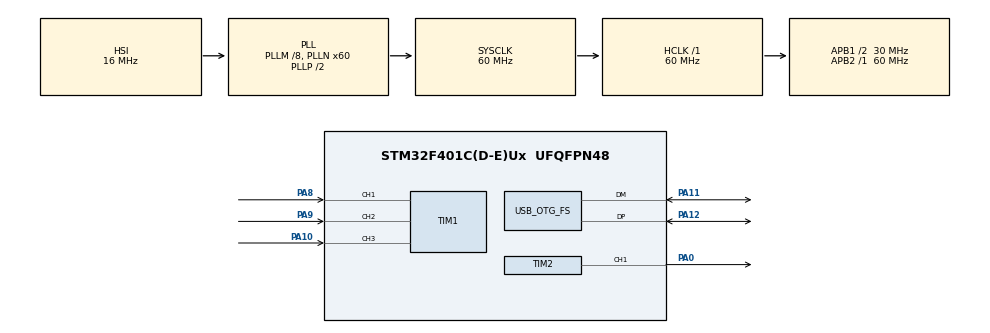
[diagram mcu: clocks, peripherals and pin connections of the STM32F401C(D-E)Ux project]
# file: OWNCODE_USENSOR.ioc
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Mcu.Family=STM32F4
Mcu.Name=STM32F401C(D-E)Ux
Mcu.Package=UFQFPN48
NVIC.OTG_FS_IRQn=true\:0\:0\:false\:false\:true\:false\:true\:true
NVIC.PriorityGroup=NVIC_PRIORITYGROUP_4
NVIC.TIM2_IRQn=true\:0\:0\:false\:false\:true\:true\:true\:true
PA0-WKUP.Signal=S_TIM2_CH1_ETR
PA10.Signal=S_TIM1_CH3
PA11.Mode=Device_Only
PA11.Signal=USB_OTG_FS_DM
PA12.Mode=Device_Only
PA12.Signal=USB_OTG_FS_DP
PA13.Mode=Trace_Asynchronous_SW
PA13.Signal=SYS_JTMS-SWDIO
PA14.Mode=Trace_Asynchronous_SW
PA14.Signal=SYS_JTCK-SWCLK
PA8.Signal=S_TIM1_CH1
PA9.Signal=S_TIM1_CH2
PB3.Mode=Trace_Asynchronous_SW
PB3.Signal=SYS_JTDO-SWO
PH0\ -\ OSC_IN.Mode=HSE-External-Oscillator
PH0\ -\ OSC_IN.Signal=RCC_OSC_IN
PH1\ -\ OSC_OUT.Mode=HSE-External-Oscillator
PH1\ -\ OSC_OUT.Signal=RCC_OSC_OUT
ProjectManager.HeapSize=0x200
ProjectManager.StackSize=0x400
ProjectManager.TargetToolchain=STM32CubeIDE
RCC.48MHZClocksFreq_Value=48000000
RCC.AHBFreq_Value=60000000
RCC.APB1CLKDivider=RCC_HCLK_DIV2
RCC.APB1Freq_Value=30000000
RCC.APB1TimFreq_Value=60000000
RCC.APB2Freq_Value=60000000
RCC.APB2TimFreq_Value=60000000
RCC.CortexFreq_Value=60000000
RCC.HCLKFreq_Value=60000000
RCC.HSE_VALUE=25000000
RCC.HSI_VALUE=16000000
RCC.LSE_VALUE=32768
RCC.PLLM=15
RCC.PLLN=144
RCC.PLLP=RCC_PLLP_DIV4
RCC.PLLQ=5
RCC.SYSCLKFreq_VALUE=60000000
RCC.SYSCLKSource=RCC_SYSCLKSOURCE_PLLCLK
RCC.VCOOutputFreq_Value=240000000
SH.S_TIM1_CH1.0=TIM1_CH1,Input_Capture1_from_TI1
SH.S_TIM1_CH2.0=TIM1_CH2,Input_Capture2_from_TI2
SH.S_TIM1_CH3.0=TIM1_CH3,Input_Capture3_from_TI3
SH.S_TIM2_CH1_ETR.0=TIM2_CH1,PWM Generation1 CH1
TIM1.Channel-Input_Capture1_from_TI1=TIM_CHANNEL_1
TIM1.Channel-Input_Capture2_from_TI2=TIM_CHANNEL_2
TIM1.Channel-Input_Capture3_from_TI3=TIM_CHANNEL_3
TIM2.Channel-PWM\ Generation1\ CH1=TIM_CHANNEL_1
TIM2.Period=100
TIM2.Prescaler=60-1
TIM2.Pulse-PWM\ Generation1\ CH1=10
USB_DEVICE.CLASS_NAME_FS=CDC
USB_DEVICE.VirtualMode-CDC_FS=Cdc
USB_DEVICE.VirtualModeFS=Cdc_FS
USB_OTG_FS.VirtualMode=Device_Only
VP_TIM1_VS_ClockSourceINT.Mode=Internal
VP_TIM2_VS_ClockSourceINT.Mode=Internal
VP_USB_DEVICE_VS_USB_DEVICE_CDC_FS.Mode=CDC_FS
board=custom

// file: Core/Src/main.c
/* USER CODE BEGIN Header */
/**
  ******************************************************************************
  * @file           : main.c
  * @brief          : Main program body
  ******************************************************************************
  * @attention
  *
  * Copyright (c) 2024 STMicroelectronics.
  * All rights reserved.
  *
  * This software is licensed under terms that can be found in the LICENSE file
  * in the root directory of this software component.
  * If no LICENSE file comes with this software, it is provided AS-IS.
  *
  ******************************************************************************
  */
/* USER CODE END Header */
#include "main.h"
#include "usb_device.h"

/* USER CODE BEGIN Includes */
char buffer[10];
/* USER CODE END Includes */

TIM_HandleTypeDef htim1;
TIM_HandleTypeDef htim2;

void SystemClock_Config(void);
static void MX_GPIO_Init(void);
static void MX_TIM2_Init(void);
static void MX_TIM1_Init(void);

/* USER CODE BEGIN 0 */
uint32_t IC_Val1=0;
uint32_t IC_Val2=0;
uint32_t Difference=0;
uint8_t Is_First_Captured=0;
uint8_t Distance= 0;
/* USER CODE END 0 */

int main(void)
{

  /* MCU Configuration--------------------------------------------------------*/

  /* Reset of all peripherals, Initializes the Flash interface and the Systick. */
  HAL_Init();

  /* Configure the system clock */
  SystemClock_Config();

  /* Initialize all configured peripherals */
  MX_GPIO_Init();
  MX_TIM2_Init();
  MX_TIM1_Init();
  MX_USB_DEVICE_Init();

  /* Infinite loop */
  /* USER CODE BEGIN WHILE */
  while (1)
  {
		__HAL_TIM_ENABLE_IT(&htim1, TIM_IT_CC1);

		__HAL_TIM_ENABLE_IT(&htim1, TIM_IT_CC2);

		__HAL_TIM_ENABLE_IT(&htim1, TIM_IT_CC3);

	  void HAL_TIM_IC_CaptureCallback(TIM_HandleTypeDef *htim)
	  {
	  	if (htim->Channel == HAL_TIM_ACTIVE_CHANNEL_1)  // if the interrupt source is channel1
	  	{
	  		if (Is_First_Captured==0) // if the first value is not captured
	  				{
	  					IC_Val1 = HAL_TIM_ReadCapturedValue(&htim1, TIM_CHANNEL_1); //(first we catch RISING edge) read the first value
	  					Is_First_Captured = 1;  // set the first captured as true
	  					// Now change the polarity to falling edge
	  					__HAL_TIM_SET_CAPTUREPOLARITY(&htim1, TIM_CHANNEL_1, TIM_INPUTCHANNELPOLARITY_FALLING);
	  				}
	  				else if (Is_First_Captured==1)   // if the first is already captured
	  				{
	  					IC_Val2 = HAL_TIM_ReadCapturedValue(&htim1, TIM_CHANNEL_1);  // read second value
	  					__HAL_TIM_SET_COUNTER(&htim1, 0);  // reset the counter

	  					if (IC_Val2 > IC_Val1)
	  					{
	  						Difference = IC_Val2-IC_Val1;
	  					}
	  					else if (IC_Val1 > IC_Val2)
	  					{
	  						Difference = (0xffff - IC_Val1) + IC_Val2;
	  					}

	  					Distance = Difference * .034/2;
	  					Is_First_Captured = 0; // set it back to false

	  					sprintf(buffer, "%d\n", Distance);
	  								CDC_Transmit_FS(buffer, strlen((buffer == 0)? 1:buffer ));//sending it to SDA

	  					// set polarity to rising edge
	  					__HAL_TIM_SET_CAPTUREPOLARITY(&htim1, TIM_CHANNEL_1, TIM_INPUTCHANNELPOLARITY_RISING);
	  					__HAL_TIM_DISABLE_IT(&htim1, TIM_IT_CC1);

	  	}
	  }
	  	if (htim->Channel == HAL_TIM_ACTIVE_CHANNEL_2)  // if the interrupt source is channel1
	  	{
	  		if (Is_First_Captured==0) // if the first value is not captured
	  				{
	  					IC_Val1 = HAL_TIM_ReadCapturedValue(&htim1, TIM_CHANNEL_2); //(first we catch RISING edge) read the first value
	  					Is_First_Captured = 1;  // set the first captured as true
	  					// Now change the polarity to falling edge
	  					__HAL_TIM_SET_CAPTUREPOLARITY(&htim1, TIM_CHANNEL_2, TIM_INPUTCHANNELPOLARITY_FALLING);
	  				}
	  				else if (Is_First_Captured==1)   // if the first is already captured
	  				{
	  					IC_Val2 = HAL_TIM_ReadCapturedValue(&htim1, TIM_CHANNEL_2);  // read second value
	  					__HAL_TIM_SET_COUNTER(&htim1, 0);  // reset the counter

	  					if (IC_Val2 > IC_Val1)
	  					{
	  						Difference = IC_Val2-IC_Val1;
	  					}
	  					else if (IC_Val1 > IC_Val2)
	  					{
	  						Difference = (0xffff - IC_Val1) + IC_Val2;
	  					}

	  					Distance = Difference * .034/2;
	  					Is_First_Captured = 0; // set it back to false

	  					sprintf(buffer, "%d\n", Distance);
	  								CDC_Transmit_FS(buffer, strlen((buffer == 0)? 1:buffer ));//sending it to SDA

	  					// set polarity to rising edge
	  					__HAL_TIM_SET_CAPTUREPOLARITY(&htim1, TIM_CHANNEL_1, TIM_INPUTCHANNELPOLARITY_RISING);
	  					__HAL_TIM_DISABLE_IT(&htim1, TIM_IT_CC2);

	  	}}
		  	if (htim->Channel == HAL_TIM_ACTIVE_CHANNEL_3)  // if the interrupt source is channel1
		  	{
		  		if (Is_First_Captured==0) // if the first value is not captured
		  				{
		  					IC_Val1 = HAL_TIM_ReadCapturedValue(&htim1, TIM_CHANNEL_3); //(first we catch RISING edge) read the first value
		  					Is_First_Captured = 1;  // set the first captured as true
		  					// Now change the polarity to falling edge
		  					__HAL_TIM_SET_CAPTUREPOLARITY(&htim1, TIM_CHANNEL_3, TIM_INPUTCHANNELPOLARITY_FALLING);
		  				}
		  				else if (Is_First_Captured==1)   // if the first is already captured
		  				{
		  					IC_Val2 = HAL_TIM_ReadCapturedValue(&htim1, TIM_CHANNEL_3);  // read second value
		  					__HAL_TIM_SET_COUNTER(&htim1, 0);  // reset the counter

		  					if (IC_Val2 > IC_Val1)
		  					{
		  						Difference = IC_Val2-IC_Val1;
		  					}
		  					else if (IC_Val1 > IC_Val2)
		  					{
		  						Difference = (0xffff - IC_Val1) + IC_Val2;
		  					}

		  					Distance = Difference * .034/2;
		  					Is_First_Captured = 0; // set it back to false

		  					sprintf(buffer, "%d\n", Distance);
		  								CDC_Transmit_FS(buffer, strlen((buffer == 0)? 1:buffer ));//sending it to SDA

		  					// set polarity to rising edge
		  					__HAL_TIM_SET_CAPTUREPOLARITY(&htim1, TIM_CHANNEL_1, TIM_INPUTCHANNELPOLARITY_RISING);
		  					__HAL_TIM_DISABLE_IT(&htim1, TIM_IT_CC3);

		  	}
	  }
    /* USER CODE END WHILE */

}
  }
void SystemClock_Config(void)
{
  RCC_OscInitTypeDef RCC_OscInitStruct = {0};
  RCC_ClkInitTypeDef RCC_ClkInitStruct = {0};

  /** Configure the main internal regulator output voltage
  */
  __HAL_RCC_PWR_CLK_ENABLE();
  __HAL_PWR_VOLTAGESCALING_CONFIG(PWR_REGULATOR_VOLTAGE_SCALE2);

  /** Initializes the RCC Oscillators according to the specified parameters
  * in the RCC_OscInitTypeDef structure.
  */
  RCC_OscInitStruct.OscillatorType = RCC_OSCILLATORTYPE_HSI;
  RCC_OscInitStruct.HSIState = RCC_HSI_ON;
  RCC_OscInitStruct.HSICalibrationValue = RCC_HSICALIBRATION_DEFAULT;
  RCC_OscInitStruct.PLL.PLLState = RCC_PLL_ON;
  RCC_OscInitStruct.PLL.PLLSource = RCC_PLLSOURCE_HSI;
  RCC_OscInitStruct.PLL.PLLM = 8;
  RCC_OscInitStruct.PLL.PLLN = 60;
  RCC_OscInitStruct.PLL.PLLP = RCC_PLLP_DIV2;
  RCC_OscInitStruct.PLL.PLLQ = 4;
  if (HAL_RCC_OscConfig(&RCC_OscInitStruct) != HAL_OK)
  {
    Error_Handler();
  }

  /** Initializes the CPU, AHB and APB buses clocks
  */
  RCC_ClkInitStruct.ClockType = RCC_CLOCKTYPE_HCLK|RCC_CLOCKTYPE_SYSCLK
                              |RCC_CLOCKTYPE_PCLK1|RCC_CLOCKTYPE_PCLK2;
  RCC_ClkInitStruct.SYSCLKSource = RCC_SYSCLKSOURCE_PLLCLK;
  RCC_ClkInitStruct.AHBCLKDivider = RCC_SYSCLK_DIV1;
  RCC_ClkInitStruct.APB1CLKDivider = RCC_HCLK_DIV2;
  RCC_ClkInitStruct.APB2CLKDivider = RCC_HCLK_DIV1;

  if (HAL_RCC_ClockConfig(&RCC_ClkInitStruct, FLASH_LATENCY_1) != HAL_OK)
  {
    Error_Handler();
  }
}

static void MX_TIM1_Init(void)
{

  TIM_ClockConfigTypeDef sClockSourceConfig = {0};
  TIM_MasterConfigTypeDef sMasterConfig = {0};
  TIM_IC_InitTypeDef sConfigIC = {0};

  htim1.Instance = TIM1;
  htim1.Init.Prescaler = 0;
  htim1.Init.CounterMode = TIM_COUNTERMODE_UP;
  htim1.Init.Period = 65535;
  htim1.Init.ClockDivision = TIM_CLOCKDIVISION_DIV1;
  htim1.Init.RepetitionCounter = 0;
  htim1.Init.AutoReloadPreload = TIM_AUTORELOAD_PRELOAD_DISABLE;
  if (HAL_TIM_Base_Init(&htim1) != HAL_OK)
  {
    Error_Handler();
  }
  sClockSourceConfig.ClockSource = TIM_CLOCKSOURCE_INTERNAL;
  if (HAL_TIM_ConfigClockSource(&htim1, &sClockSourceConfig) != HAL_OK)
  {
    Error_Handler();
  }
  if (HAL_TIM_IC_Init(&htim1) != HAL_OK)
  {
    Error_Handler();
  }
  sMasterConfig.MasterOutputTrigger = TIM_TRGO_RESET;
  sMasterConfig.MasterSlaveMode = TIM_MASTERSLAVEMODE_DISABLE;
  if (HAL_TIMEx_MasterConfigSynchronization(&htim1, &sMasterConfig) != HAL_OK)
  {
    Error_Handler();
  }
  sConfigIC.ICPolarity = TIM_INPUTCHANNELPOLARITY_RISING;
  sConfigIC.ICSelection = TIM_ICSELECTION_DIRECTTI;
  sConfigIC.ICPrescaler = TIM_ICPSC_DIV1;
  sConfigIC.ICFilter = 0;
  if (HAL_TIM_IC_ConfigChannel(&htim1, &sConfigIC, TIM_CHANNEL_1) != HAL_OK)
  {
    Error_Handler();
  }
  if (HAL_TIM_IC_ConfigChannel(&htim1, &sConfigIC, TIM_CHANNEL_2) != HAL_OK)
  {
    Error_Handler();
  }
  if (HAL_TIM_IC_ConfigChannel(&htim1, &sConfigIC, TIM_CHANNEL_3) != HAL_OK)
  {
    Error_Handler();
  }

}

static void MX_TIM2_Init(void)
{

  TIM_ClockConfigTypeDef sClockSourceConfig = {0};
  TIM_MasterConfigTypeDef sMasterConfig = {0};
  TIM_OC_InitTypeDef sConfigOC = {0};

  htim2.Instance = TIM2;
  htim2.Init.Prescaler = 60-1;
  htim2.Init.CounterMode = TIM_COUNTERMODE_UP;
  htim2.Init.Period = 100;
  htim2.Init.ClockDivision = TIM_CLOCKDIVISION_DIV1;
  htim2.Init.AutoReloadPreload = TIM_AUTORELOAD_PRELOAD_DISABLE;
  if (HAL_TIM_Base_Init(&htim2) != HAL_OK)
  {
    Error_Handler();
  }
  sClockSourceConfig.ClockSource = TIM_CLOCKSOURCE_INTERNAL;
  if (HAL_TIM_ConfigClockSource(&htim2, &sClockSourceConfig) != HAL_OK)
  {
    Error_Handler();
  }
  if (HAL_TIM_PWM_Init(&htim2) != HAL_OK)
  {
    Error_Handler();
  }
  sMasterConfig.MasterOutputTrigger = TIM_TRGO_RESET;
  sMasterConfig.MasterSlaveMode = TIM_MASTERSLAVEMODE_DISABLE;
  if (HAL_TIMEx_MasterConfigSynchronization(&htim2, &sMasterConfig) != HAL_OK)
  {
    Error_Handler();
  }
  sConfigOC.OCMode = TIM_OCMODE_PWM1;
  sConfigOC.Pulse = 10;
  sConfigOC.OCPolarity = TIM_OCPOLARITY_HIGH;
  sConfigOC.OCFastMode = TIM_OCFAST_DISABLE;
  if (HAL_TIM_PWM_ConfigChannel(&htim2, &sConfigOC, TIM_CHANNEL_1) != HAL_OK)
  {
    Error_Handler();
  }
  HAL_TIM_MspPostInit(&htim2);

}

static void MX_GPIO_Init(void)
{

  /* GPIO Ports Clock Enable */
  __HAL_RCC_GPIOH_CLK_ENABLE();
  __HAL_RCC_GPIOA_CLK_ENABLE();
  __HAL_RCC_GPIOB_CLK_ENABLE();

}

void Error_Handler(void)
{
  __disable_irq();
  while (1)
  {
  }
}
